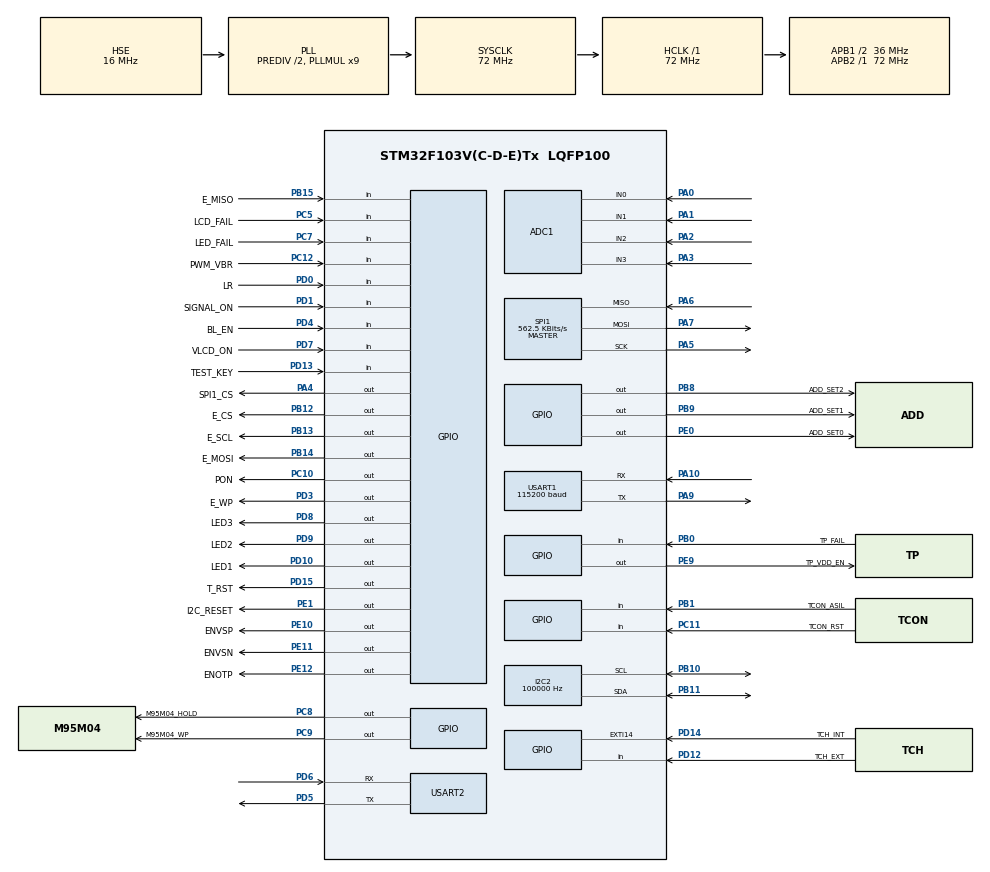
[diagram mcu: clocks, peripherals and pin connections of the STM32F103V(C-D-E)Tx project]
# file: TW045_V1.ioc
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ADC1.Channel-0\#ChannelRegularConversion=ADC_CHANNEL_0
ADC1.NbrOfConversionFlag=1
ADC1.Rank-0\#ChannelRegularConversion=1
ADC1.SamplingTime-0\#ChannelRegularConversion=ADC_SAMPLETIME_1CYCLE_5
ADC1.master=1
I2C2.ClockSpeed=100000
I2C2.I2C_Mode=I2C_Fast
Mcu.Family=STM32F1
Mcu.Name=STM32F103V(C-D-E)Tx
Mcu.Package=LQFP100
NVIC.EXTI15_10_IRQn=true\:0\:0\:false\:false\:true\:true\:true\:true
NVIC.I2C2_EV_IRQn=true\:0\:0\:false\:false\:true\:true\:true\:true
NVIC.PriorityGroup=NVIC_PRIORITYGROUP_4
NVIC.TIM1_UP_IRQn=true\:15\:0\:false\:false\:true\:false\:true\:true
NVIC.TimeBase=TIM1_UP_IRQn
NVIC.TimeBaseIP=TIM1
NVIC.USART1_IRQn=true\:0\:0\:false\:false\:true\:true\:true\:true
OSC_IN.Mode=HSE-External-Oscillator
OSC_IN.Signal=RCC_OSC_IN
OSC_OUT.Mode=HSE-External-Oscillator
OSC_OUT.Signal=RCC_OSC_OUT
PA0-WKUP.Signal=ADCx_IN0
PA1.Signal=ADCx_IN1
PA10.Mode=Asynchronous
PA10.Signal=USART1_RX
PA13.Mode=JTAG_5_pins
PA13.Signal=SYS_JTMS-SWDIO
PA14.Mode=JTAG_5_pins
PA14.Signal=SYS_JTCK-SWCLK
PA15.Mode=JTAG_5_pins
PA15.Signal=SYS_JTDI
PA2.Signal=ADCx_IN2
PA3.Signal=ADCx_IN3
PA4.GPIO_Label=SPI1_CS
PA4.Signal=GPIO_Output
PA5.Mode=Full_Duplex_Master
PA5.Signal=SPI1_SCK
PA6.Mode=Full_Duplex_Master
PA6.Signal=SPI1_MISO
PA7.Mode=Full_Duplex_Master
PA7.Signal=SPI1_MOSI
PA9.Mode=Asynchronous
PA9.Signal=USART1_TX
PB0.GPIO_Label=TP_FAIL
PB0.Signal=GPIO_Input
PB1.GPIO_Label=TCON_ASIL
PB1.Signal=GPIO_Input
PB10.Mode=I2C
PB10.Signal=I2C2_SCL
PB11.Mode=I2C
PB11.Signal=I2C2_SDA
PB12.GPIO_Label=E_CS
PB12.Signal=GPIO_Output
PB13.GPIO_Label=E_SCL
PB13.Signal=GPIO_Output
PB14.GPIO_Label=E_MOSI
PB14.Signal=GPIO_Output
PB15.GPIO_Label=E_MISO
PB15.Signal=GPIO_Input
PB3.Mode=JTAG_5_pins
PB3.Signal=SYS_JTDO-TRACESWO
PB4.Mode=JTAG_5_pins
PB4.Signal=SYS_NJTRST
PB8.GPIO_Label=ADD_SET2
PB8.Signal=GPIO_Output
PB9.GPIO_Label=ADD_SET1
PB9.Signal=GPIO_Output
PC10.GPIO_Label=PON
PC10.Signal=GPIO_Output
PC11.GPIO_Label=TCON_RST
PC11.Signal=GPIO_Input
PC12.GPIO_Label=PWM_VBR
PC12.Signal=GPIO_Input
PC5.GPIO_Label=LCD_FAIL
PC5.Signal=GPIO_Input
PC7.GPIO_Label=LED_FAIL
PC7.Signal=GPIO_Input
PC8.GPIO_Label=M95M04_HOLD
PC8.Signal=GPIO_Output
PC9.GPIO_Label=M95M04_WP
PC9.Signal=GPIO_Output
PD0.GPIO_Label=LR
PD0.Signal=GPIO_Input
PD1.GPIO_Label=SIGNAL_ON
PD1.Signal=GPIO_Input
PD10.GPIO_Label=LED1
PD10.Signal=GPIO_Output
PD12.GPIO_Label=TCH_EXT
PD12.Signal=GPIO_Input
PD13.GPIO_Label=TEST_KEY
PD13.Signal=GPIO_Input
PD14.GPIO_Label=TCH_INT
PD14.GPIO_ModeDefaultEXTI=GPIO_MODE_IT_FALLING
PD14.GPIO_PuPd=GPIO_NOPULL
PD14.Signal=GPXTI14
PD15.GPIO_Label=T_RST
PD15.Signal=GPIO_Output
PD3.GPIO_Label=E_WP
PD3.Signal=GPIO_Output
PD4.GPIO_Label=BL_EN
PD4.Signal=GPIO_Input
PD5.Mode=Asynchronous
PD5.Signal=USART2_TX
PD6.Mode=Asynchronous
PD6.Signal=USART2_RX
PD7.GPIO_Label=VLCD_ON
PD7.Signal=GPIO_Input
PD8.GPIO_Label=LED3
PD8.Signal=GPIO_Output
PD9.GPIO_Label=LED2
PD9.Signal=GPIO_Output
PE0.GPIO_Label=ADD_SET0
PE0.Signal=GPIO_Output
PE1.GPIO_Label=I2C_RESET
PE1.Signal=GPIO_Output
PE10.GPIO_Label=ENVSP
PE10.Signal=GPIO_Output
PE11.GPIO_Label=ENVSN
PE11.Signal=GPIO_Output
PE12.GPIO_Label=ENOTP
PE12.Signal=GPIO_Output
PE9.GPIO_Label=TP_VDD_EN
PE9.Signal=GPIO_Output
ProjectManager.HeapSize=0x400
ProjectManager.StackSize=0x400
ProjectManager.TargetToolchain=EWARM V8.32
RCC.ADCPresc=RCC_ADCPCLK2_DIV6
RCC.AHBFreq_Value=72000000
RCC.APB1CLKDivider=RCC_HCLK_DIV2
RCC.APB1Freq_Value=36000000
RCC.APB1TimFreq_Value=72000000
RCC.APB2Freq_Value=72000000
RCC.APB2TimFreq_Value=72000000
RCC.HCLKFreq_Value=72000000
RCC.HSEDivPLL=RCC_HSE_PREDIV_DIV2
RCC.HSE_VALUE=16000000
RCC.PLLMUL=RCC_PLL_MUL9
RCC.PLLSourceVirtual=RCC_PLLSOURCE_HSE
RCC.SYSCLKFreq_VALUE=72000000
RCC.SYSCLKSource=RCC_SYSCLKSOURCE_PLLCLK
RCC.USBFreq_Value=72000000
SH.ADCx_IN0.0=ADC1_IN0,IN0
SH.ADCx_IN1.0=ADC1_IN1,IN1
SH.ADCx_IN2.0=ADC1_IN2,IN2
SH.ADCx_IN3.0=ADC1_IN3,IN3
SPI1.BaudRatePrescaler=SPI_BAUDRATEPRESCALER_128
SPI1.CalculateBaudRate=562.5 KBits/s
SPI1.Direction=SPI_DIRECTION_2LINES
SPI1.Mode=SPI_MODE_MASTER
SPI1.VirtualType=VM_MASTER
USART1.BaudRate=115200
USART1.VirtualMode=VM_ASYNC
USART2.VirtualMode=VM_ASYNC
VP_SYS_VS_tim1.Mode=TIM1
board=custom

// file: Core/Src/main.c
/* USER CODE BEGIN Header */
/**
  ******************************************************************************
  * @file           : main.c
  * @brief          : Main program body
  ******************************************************************************
  * @attention
  *
  * Copyright (c) 2025 STMicroelectronics.
  * All rights reserved.
  *
  * This software is licensed under terms that can be found in the LICENSE file
  * in the root directory of this software component.
  * If no LICENSE file comes with this software, it is provided AS-IS.
  *
  ******************************************************************************
  */
/* USER CODE END Header */
#include "main.h"
#include "adc.h"
#include "i2c.h"
#include "spi.h"
#include "usart.h"
#include "gpio.h"

/* USER CODE BEGIN PV */
UTickDef Utick;
uint8_t uart_rxdata;
/* USER CODE END PV */

void SystemClock_Config(void);
/* USER CODE BEGIN PFP */
PUTCHAR_PROTOTYPE
{
  static int prev = 0;

  /* 다른 */
  if (ch == '\n') {
    if (prev != '\r') {
      uint8_t cr = '\r';
      HAL_UART_Transmit(&huart2, &cr, 1, 10);
    }
    uint8_t lf = '\n';
    HAL_UART_Transmit(&huart2, &lf, 1, 10);
  } else {
    uint8_t c = ch;
    HAL_UART_Transmit(&huart2, &c, 1, 10);
  }
  prev = ch;

//  HAL_UART_Transmit(&huart2, (uint8_t *)&ch, 1, 10);
  return ch;
}

void User_IncTick(void)
{
  Utick.pwr_commrx++;
  Utick.comm++;
  Utick.drawing++;
  Utick.mease_func++;
  Utick.mease_func2++;

  Utick.mSocket++;
  Utick.mCableCheck++;
  Utick.mSocketRxTime++;

  Utick.wingRxTime++;

  Utick.input++;
  Utick.output++;
  Utick.gsptimer++;
  Utick.timeout++;
  Utick.touch_run_timer++;
//  if ( (Utick.wingRxTime >= TIMER_mSec(200)) && wing.PacketCnt) wing.PacketCnt = 0; // �����忡�� data ���� ���߿� 200ms ���� �ȵ����� �ʱ�ȭ
//  if (Utick.wing_rx) Utick.wing_rx--;

}
/* USER CODE END PFP */

int main(void)
{

  /* MCU Configuration--------------------------------------------------------*/

  /* Reset of all peripherals, Initializes the Flash interface and the Systick. */
  HAL_Init();

  /* Configure the system clock */
  SystemClock_Config();

  /* Initialize all configured peripherals */
  MX_GPIO_Init();
  MX_I2C2_Init();
  MX_SPI1_Init();
  MX_USART1_UART_Init();
  MX_USART2_UART_Init();
  MX_ADC1_Init();
  /* USER CODE BEGIN 2 */
  board_init();
  /* USER CODE END 2 */

  /* Infinite loop */
  while (1)
  {

    /* USER CODE BEGIN 3 */
    input_func();
    output_func();
    PtgCommCheck();
  }
  /* USER CODE END 3 */
}

void SystemClock_Config(void)
{
  RCC_OscInitTypeDef RCC_OscInitStruct = {0};
  RCC_ClkInitTypeDef RCC_ClkInitStruct = {0};
  RCC_PeriphCLKInitTypeDef PeriphClkInit = {0};

  /** Initializes the RCC Oscillators according to the specified parameters
  * in the RCC_OscInitTypeDef structure.
  */
  RCC_OscInitStruct.OscillatorType = RCC_OSCILLATORTYPE_HSE;
  RCC_OscInitStruct.HSEState = RCC_HSE_ON;
  RCC_OscInitStruct.HSEPredivValue = RCC_HSE_PREDIV_DIV2;
  RCC_OscInitStruct.HSIState = RCC_HSI_ON;
  RCC_OscInitStruct.PLL.PLLState = RCC_PLL_ON;
  RCC_OscInitStruct.PLL.PLLSource = RCC_PLLSOURCE_HSE;
  RCC_OscInitStruct.PLL.PLLMUL = RCC_PLL_MUL9;
  if (HAL_RCC_OscConfig(&RCC_OscInitStruct) != HAL_OK)
  {
    Error_Handler();
  }

  /** Initializes the CPU, AHB and APB buses clocks
  */
  RCC_ClkInitStruct.ClockType = RCC_CLOCKTYPE_HCLK|RCC_CLOCKTYPE_SYSCLK
                              |RCC_CLOCKTYPE_PCLK1|RCC_CLOCKTYPE_PCLK2;
  RCC_ClkInitStruct.SYSCLKSource = RCC_SYSCLKSOURCE_PLLCLK;
  RCC_ClkInitStruct.AHBCLKDivider = RCC_SYSCLK_DIV1;
  RCC_ClkInitStruct.APB1CLKDivider = RCC_HCLK_DIV2;
  RCC_ClkInitStruct.APB2CLKDivider = RCC_HCLK_DIV1;

  if (HAL_RCC_ClockConfig(&RCC_ClkInitStruct, FLASH_LATENCY_2) != HAL_OK)
  {
    Error_Handler();
  }
  PeriphClkInit.PeriphClockSelection = RCC_PERIPHCLK_ADC;
  PeriphClkInit.AdcClockSelection = RCC_ADCPCLK2_DIV6;
  if (HAL_RCCEx_PeriphCLKConfig(&PeriphClkInit) != HAL_OK)
  {
    Error_Handler();
  }
}

void HAL_TIM_PeriodElapsedCallback(TIM_HandleTypeDef *htim)
{
  if (htim->Instance == TIM1) {
    HAL_IncTick();
  }
  /* USER CODE BEGIN Callback 1 */
  User_IncTick();
  /* USER CODE END Callback 1 */
}

void Error_Handler(void)
{
  __disable_irq();
  while (1)
  {
  }
}
